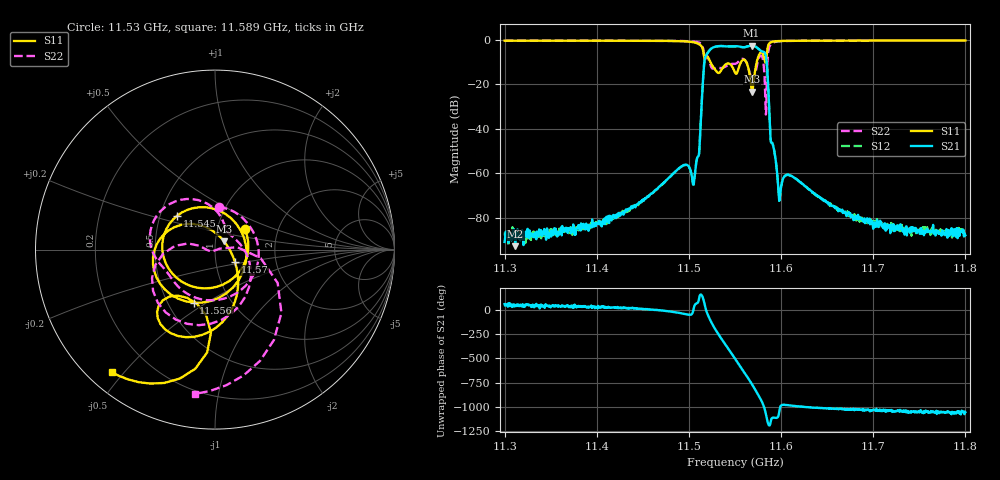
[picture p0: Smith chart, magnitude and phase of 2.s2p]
# Hz S DB R 50
! Planar, S50244, 24171007, 25.4.1/6
! Date: 15.10.2025 10:24:11
! Data: Format (Calibration Info)
! Freq	S11:dB/Ang(F2)	S21:dB/Ang(F2)	S12:dB/Ang(F2)	S22:dB/Ang(F2)
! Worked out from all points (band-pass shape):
!   1001 points, 11.3 GHz to 11.8 GHz, reference 50 ohm
!   highest |S21| = -2.58 dB at 11.568 GHz (marker M1); lowest = -92.7 dB at 11.312 GHz (marker M2)
!   |S21| within 3 dB of the highest: 11.521 GHz to 11.582 GHz (61.1 MHz wide, 0.529 % of centre)
!   lowest |S11| = -23.3 dB at 11.569 GHz (marker M3), VSWR 1.15, Z = 55.1 + j5.08 ohm
!   |S11| at or under -10 dB: 11.52346 GHz to 11.55641 GHz (32.95 MHz wide, 0.286 % of centre); 11.56235 GHz to 11.57355 GHz (11.2 MHz wide, 0.0968 % of centre); 11.58285 GHz to 11.58336 GHz (514.3 kHz wide, 0.00444 % of centre)
!   |S22| runs from -33.5 to -0.2 dB; largest |S21 - S12| = 0.013
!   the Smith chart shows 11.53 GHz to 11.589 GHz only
!   S11 on the Smith chart (normalised r, x): 11.53 GHz: 1.36, +0.32; 11.545 GHz: 0.61, +0.25; 11.556 GHz: 0.67, -0.44; 11.57 GHz: 1.24, -0.17; 11.589 GHz: 0.07, -0.46
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1.13e10  -0.32 144.8  -90.83 59.1  -87.97 66.4  -0.31 143.0
1.13115e10  -0.32 142.6  -92.74 41.7  -87.51 38.1  -0.31 140.9
1.13835e10  -0.33 126.0  -83.78 36.3  -83.33 39.4  -0.32 125.9
1.1467e10  -0.38 85.0  -66.33 -3.9  -66.21 -4.7  -0.34 92.1
1.15055e10  -1.07 -10.1  -63.87 25.5  -64.18 27.1  -0.72 31.2
1.1518e10  -8.18 -142.4  -7.43 15.4  -7.27 15.4  -7.74 -40.2
1.15235e10  -10.03 123.2  -4.14 -112.3  -4.14 -113.2  -11.42 -146.8
1.15295e10  -13.93 34.2  -2.92 146.3  -2.99 146.3  -12.51 85.2
1.15385e10  -11.51 -144.0  -2.81 17.6  -2.72 17.8  -12.18 -8.0
1.1545e10  -10.97 138.2  -2.92 -71.3  -2.87 -72.2  -10.89 -98.9
1.155e10  -14.61 49.8  -2.79 -142.2  -2.90 -143.0  -10.73 -148.0
1.15565e10  -9.93 -112.0  -3.12 123.3  -3.21 123.6  -8.71 171.5
1.1568e10  -22.37 67.6  -2.58 -38.6  -2.59 -38.6  -17.86 60.1
1.15685e10  -23.29 42.1  -2.58 -46.3  -2.60 -46.3  -18.30 54.8
1.15705e10  -17.64 -32.0  -2.71 -77.7  -2.74 -77.6  -17.67 23.4
1.15765e10  -6.33 -98.9  -4.36 -176.7  -4.36 -176.6  -7.66 -93.3
1.15825e10  -9.63 -129.0  -5.96 49.0  -5.95 49.4  -21.04 166.2
1.1589e10  -0.98 -130.1  -45.90 -58.7  -45.81 -59.0  -1.81 -97.9
1.15985e10  -0.46 -161.3  -71.48 63.9  -71.49 61.5  -0.59 -150.3
1.16335e10  -0.30 160.8  -68.10 74.8  -68.15 73.7  -0.30 161.7
1.1717e10  -0.25 129.9  -83.40 48.2  -84.26 43.9  -0.23 129.0
1.18e10  -0.22 112.6  -87.87 26.7  -86.93 14.0  -0.21 112.0
